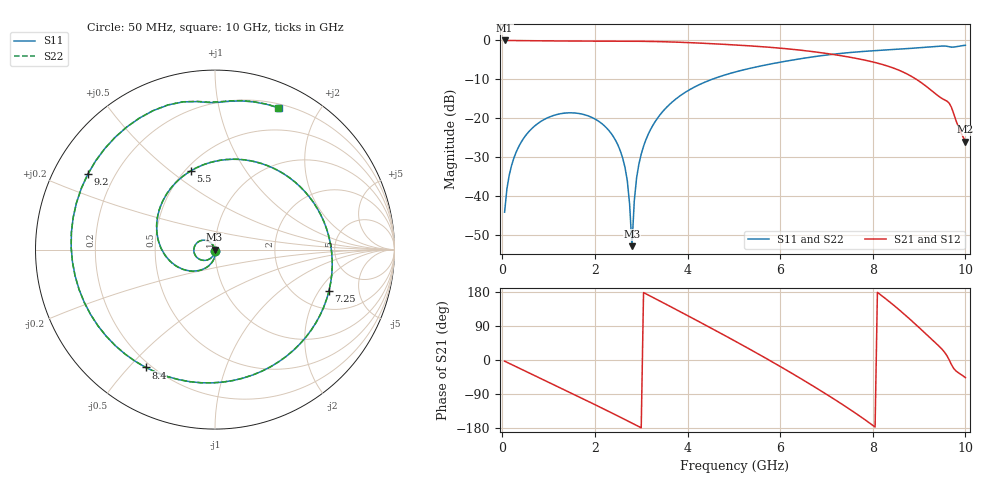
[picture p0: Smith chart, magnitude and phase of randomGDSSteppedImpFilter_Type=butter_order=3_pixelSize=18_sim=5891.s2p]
! freq	dB(S11)	phase(S11)	dB(S12)	phase(S12)
!  dB(S21)	phase(S21)	dB(S22)	phase(S22)
!S-par simulation data
#  GHz  S  DB  R 50
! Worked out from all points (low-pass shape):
!   200 points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, 50 MHz to 10 GHz, reference 50 ohm
!   highest |S21| = -0.01 dB at 50 MHz (marker M1); lowest = -25.9 dB at 10 GHz (marker M2)
!   |S21| within 3 dB of the highest: start of sweep to 6.796 GHz
!   lowest |S11| = -52.8 dB at 2.8 GHz (marker M3), VSWR 1.00, Z = 49.8 - j0.0684 ohm
!   |S11| at or under -10 dB: start of sweep to 4.524 GHz
!   |S22| runs from -53.2 to -1.2 dB; largest |S21 - S12| = 0
!   S11 on the Smith chart (normalised r, x): 50 MHz: 1.00, -0.01; 5.5 GHz: 0.53, +0.59; 7.25 GHz: 2.92, -2.47; 8.4 GHz: 0.18, -0.56; 9.2 GHz: 0.10, +0.27; 10 GHz: 0.24, +1.52
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0.05  -44.06 -92.2  -0.01 -3.1  -0.01 -3.1  -44.06 -92.2
0.2  -32.08 -101.8  -0.03 -11.9  -0.03 -11.9  -32.08 -101.8
0.55  -23.72 -122.8  -0.06 -32.5  -0.06 -32.5  -23.72 -122.8
1.75  -18.98 166.3  -0.18 -102.9  -0.18 -102.9  -18.98 166.3
2.55  -28.37 118.9  -0.19 -151.0  -0.19 -151.0  -28.38 118.6
2.7  -36.05 111.4  -0.20 -160.2  -0.20 -160.2  -36.07 110.2
2.8  -52.77 -162.6  -0.20 -166.4  -0.20 -166.4  -53.17 -162.8
2.85  -41.17 -86.2  -0.21 -169.6  -0.21 -169.6  -41.18 -83.1
2.95  -31.71 -88.7  -0.22 -175.8  -0.22 -175.8  -31.70 -87.5
3.4  -19.17 -115.7  -0.31 155.8  -0.31 155.8  -19.17 -115.2
4.25  -11.37 -170.1  -0.68 101.0  -0.68 101.0  -11.37 -169.7
5.05  -8.03 137.3  -1.18 48.3  -1.18 48.3  -8.03 137.7
5.5  -6.76 106.9  -1.52 17.8  -1.52 17.8  -6.76 107.2
6.7  -4.23 21.7  -2.86 -67.8  -2.86 -67.8  -4.23 21.8
7.25  -3.41 -19.9  -3.79 -109.8  -3.79 -109.8  -3.41 -19.9
7.9  -2.74 -73.3  -5.24 -163.6  -5.24 -163.6  -2.74 -73.4
8.35  -2.40 -115.4  -6.69 154.7  -6.69 154.7  -2.40 -115.5
8.4  -2.37 -120.5  -6.89 149.8  -6.89 149.8  -2.37 -120.5
8.85  -2.01 -169.3  -9.32 102.4  -9.32 102.4  -2.01 -169.3
9.2  -1.68 149.4  -12.20 62.9  -12.20 62.9  -1.68 149.6
9.55  -1.44 107.8  -15.25 20.6  -15.25 20.6  -1.43 108.2
10  -1.25 65.7  -25.95 -46.6  -25.95 -46.6  -1.25 65.9
